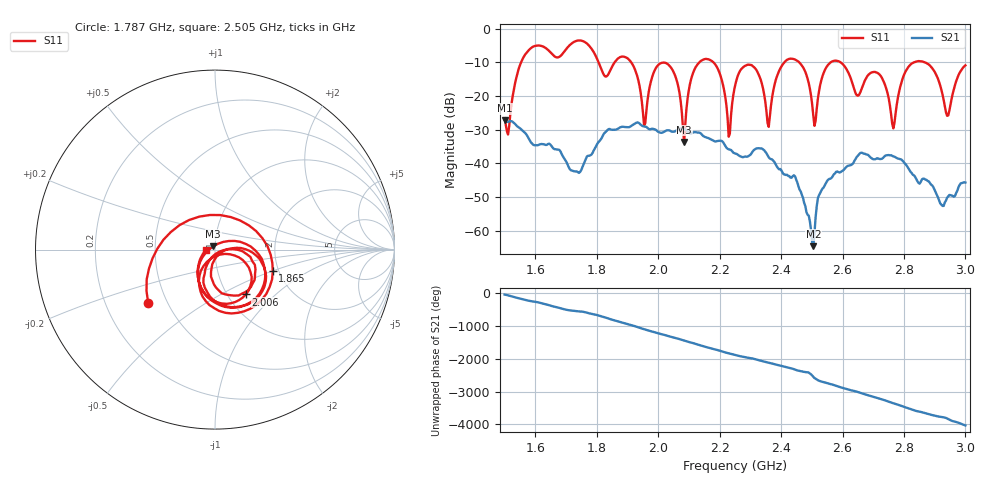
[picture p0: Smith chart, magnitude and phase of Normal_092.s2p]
# HZ S RI R 50
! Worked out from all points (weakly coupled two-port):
!   404 points, 1.5 GHz to 3 GHz, reference 50 ohm
!   highest |S21| = -27.16 dB at 1.5 GHz (marker M1); lowest = -64.6 dB at 2.505 GHz (marker M2)
!   lowest |S11| = -33.7 dB at 2.084 GHz (marker M3), VSWR 1.04, Z = 49 + j1.78 ohm
!   |S11| at or under -10 dB: 1.912 GHz to 2.134 GHz (222.1 MHz wide, 11 % of centre); 2.18 GHz to 2.411 GHz (231.2 MHz wide, 10.1 % of centre); 2.594 GHz to 2.833 GHz (239.5 MHz wide, 8.83 % of centre) (the widest 3 of 7)
!   S12 and S22 are empty: the file has one direction only
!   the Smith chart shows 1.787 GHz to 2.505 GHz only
!   S11 on the Smith chart (normalised r, x): 1.787 GHz: 0.39, -0.30; 1.865 GHz: 1.86, -0.51; 2.006 GHz: 1.21, -0.67; 2.505 GHz: 0.90, -0.00
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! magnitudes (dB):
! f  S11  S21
! 1.5 GHz  -26.6  -27.2
! 1.578 GHz  -6.5  -32.6
! 1.753 GHz  -3.7  -41.2
! 1.787 GHz  -6.5  -36.9
! 1.865 GHz  -9.3  -29.9
! 1.954 GHz  -28.7  -29.0
! 2.002 GHz  -10.6  -30.7
! 2.006 GHz  -10.4  -30.9
! 2.084 GHz  -33.7  -29.8
! 2.14 GHz  -9.5  -31.2
! 2.23 GHz  -32.1  -35.8
! 2.252 GHz  -16.3  -37.1
! 2.311 GHz  -11.4  -36.1
! 2.36 GHz  -29.2  -38.2
! 2.442 GHz  -9.1  -43.6
! 2.501 GHz  -22.5  -63.3
! 2.505 GHz  -25.9  -64.6
! 2.572 GHz  -9.6  -43.2
! 2.751 GHz  -20.8  -37.5
! 2.859 GHz  -9.7  -44.8
! 2.944 GHz  -25.7  -49.8
! 3 GHz  -10.9  -45.7
